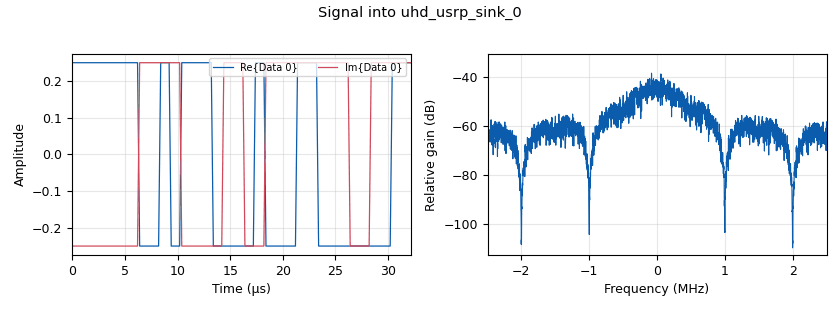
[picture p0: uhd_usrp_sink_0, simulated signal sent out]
options:
  parameters:
    author: UCanLab
    generate_options: qt_gui
    id: Multi_Node_Tx_Remote
    output_language: python
    title: Multi-node transmitter with remote control
  states: {}

blocks:
- name: interp_1
  id: variable
  parameters:
    value: int(samp_rate/sig_freq_1)
  states: {}
- name: interp_2
  id: variable
  parameters:
    value: int(samp_rate/sig_freq_2)
  states: {}
- name: path_select_1
  id: variable
  parameters:
    value: '0'
  states: {state: disabled}
- name: path_select_1
  id: variable_qtgui_chooser
  parameters:
    gui_hint: 0,0,1,1
    label: Source Signal
    label0: Signal
    label1: Tone
    label2: 'OFF'
    num_opts: '3'
    option0: '0'
    option1: '1'
    option2: '2'
    type: int
    value: '0'
  states: {}
- name: path_select_2
  id: variable_qtgui_chooser
  parameters:
    gui_hint: 1,0,1,1
    label: Source Signal
    label0: Signal
    label1: Tone
    label2: 'OFF'
    num_opts: '3'
    option0: '0'
    option1: '1'
    option2: '2'
    type: int
    value: '0'
  states: {}
- name: path_select_2
  id: variable
  parameters:
    value: '0'
  states: {state: disabled}
- name: samp_rate
  id: variable
  parameters:
    value: '5000000'
  states: {}
- name: scale
  id: variable
  parameters:
    value: '0.5'
  states: {}
- name: sig_freq_1
  id: variable_qtgui_range
  parameters:
    gui_hint: 0,1,1,1
    label: Signal Frequency
    start: '500000'
    step: '500000'
    stop: '2000000'
    value: '1000000'
  states: {}
- name: sig_freq_2
  id: variable_qtgui_range
  parameters:
    gui_hint: 1,1,1,1
    label: Signal Frequency
    start: '500000'
    step: '500000'
    stop: '2000000'
    value: '500000'
  states: {}
- name: analog_random_source_x_0
  id: analog_random_source_x
  parameters:
    max: '2'
    min: '0'
    num_samps: '1000'
    repeat: 'True'
    type: int
  states: {}
- name: analog_random_source_x_0_0
  id: analog_random_source_x
  parameters:
    max: '2'
    min: '0'
    num_samps: '1000'
    repeat: 'True'
    type: int
  states: {}
- name: analog_sig_source_x_0
  id: analog_sig_source_x
  parameters:
    amp: '0.5'
    freq: sig_freq_1
    offset: '0'
    phase: '0'
    samp_rate: samp_rate
    type: float
    waveform: analog.GR_COS_WAVE
  states: {}
- name: analog_sig_source_x_0_0
  id: analog_sig_source_x
  parameters:
    amp: '0.5'
    freq: sig_freq_2
    offset: '0'
    phase: '0'
    samp_rate: samp_rate
    type: float
    waveform: analog.GR_COS_WAVE
  states: {}
- name: blocks_add_const_vxx_1
  id: blocks_add_const_vxx
  parameters:
    const: '-(scale/2)'
    type: float
  states: {}
- name: blocks_add_const_vxx_1_0
  id: blocks_add_const_vxx
  parameters:
    const: '-(scale/2)'
    type: float
  states: {}
- name: blocks_float_to_complex_0
  id: blocks_float_to_complex
  parameters: {}
  states: {}
- name: blocks_int_to_float_0
  id: blocks_int_to_float
  parameters:
    scale: 1/scale
  states: {}
- name: blocks_int_to_float_0_0
  id: blocks_int_to_float
  parameters:
    scale: 1/scale
  states: {}
- name: blocks_null_source_0
  id: blocks_null_source
  parameters:
    type: float
  states: {}
- name: blocks_null_source_0_0
  id: blocks_null_source
  parameters:
    type: float
  states: {}
- name: blocks_repeat_0
  id: blocks_repeat
  parameters:
    interp: interp_1
    type: float
  states: {}
- name: blocks_repeat_0_0
  id: blocks_repeat
  parameters:
    interp: interp_2
    type: float
  states: {}
- name: blocks_selector_0
  id: blocks_selector
  parameters:
    enabled: 'True'
    input_index: path_select_1
    num_inputs: '3'
    num_outputs: '1'
    output_index: '0'
    type: float
  states: {}
- name: blocks_selector_0_0
  id: blocks_selector
  parameters:
    enabled: 'True'
    input_index: path_select_2
    num_inputs: '3'
    num_outputs: '1'
    output_index: '0'
    type: float
  states: {}
- name: note_0_0
  id: note
  parameters:
    note: BPSK
  states: {}
- name: note_0_0_0
  id: note
  parameters:
    note: BPSK
  states: {}
- name: note_1_0
  id: note
  parameters:
    note: Transmitter
  states: {}
- name: uhd_usrp_sink_0
  id: uhd_usrp_sink
  parameters:
    ant0: AB
    center_freq0: '0'
    dev_args: '""'
    gain0: '0'
    len_tag_name: ''
    samp_rate: samp_rate
    sync: none
    type: fc32
  states: {}
- name: virtual_sink_0
  id: virtual_sink
  parameters:
    stream_id: TxSignal_1
  states: {}
- name: virtual_sink_0_0
  id: virtual_sink
  parameters:
    stream_id: TxSignal_2
  states: {}
- name: virtual_source_0
  id: virtual_source
  parameters:
    stream_id: TxSignal_1
  states: {}
- name: virtual_source_0_0
  id: virtual_source
  parameters:
    stream_id: TxSignal_2
  states: {}
- name: xmlrpc_server_0
  id: xmlrpc_server
  parameters:
    addr: 10.1.1.2
    port: '8080'
  states: {}

connections:
- [analog_random_source_x_0, '0', blocks_int_to_float_0, '0']
- [analog_random_source_x_0_0, '0', blocks_int_to_float_0_0, '0']
- [analog_sig_source_x_0, '0', blocks_selector_0, '1']
- [analog_sig_source_x_0_0, '0', blocks_selector_0_0, '1']
- [blocks_add_const_vxx_1, '0', blocks_selector_0, '0']
- [blocks_add_const_vxx_1_0, '0', blocks_selector_0_0, '0']
- [blocks_float_to_complex_0, '0', uhd_usrp_sink_0, '0']
- [blocks_int_to_float_0, '0', blocks_repeat_0, '0']
- [blocks_int_to_float_0_0, '0', blocks_repeat_0_0, '0']
- [blocks_null_source_0, '0', blocks_selector_0, '2']
- [blocks_null_source_0_0, '0', blocks_selector_0_0, '2']
- [blocks_repeat_0, '0', blocks_add_const_vxx_1, '0']
- [blocks_repeat_0_0, '0', blocks_add_const_vxx_1_0, '0']
- [blocks_selector_0, '0', virtual_sink_0, '0']
- [blocks_selector_0_0, '0', virtual_sink_0_0, '0']
- [virtual_source_0, '0', blocks_float_to_complex_0, '0']
- [virtual_source_0_0, '0', blocks_float_to_complex_0, '1']

metadata:
  file_format: 1
